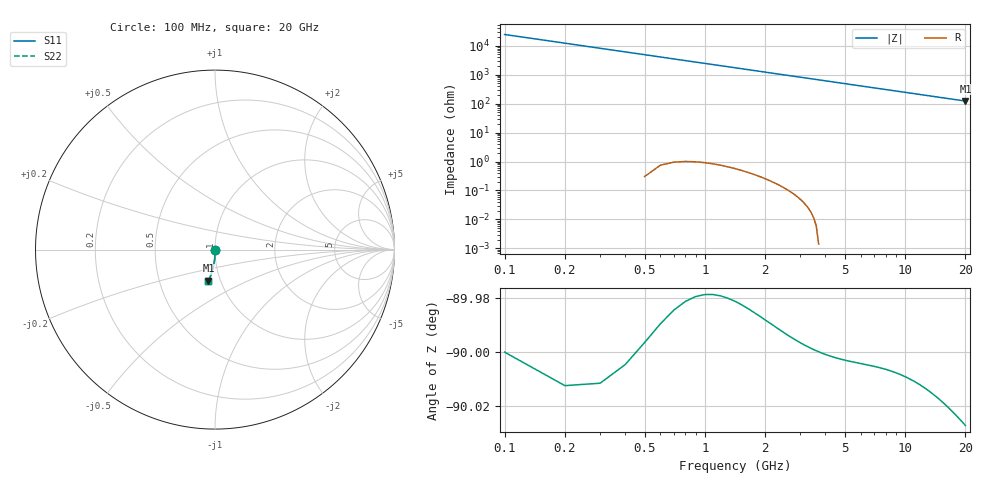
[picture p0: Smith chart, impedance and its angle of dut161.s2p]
! Touchstone file exported from HFSS 2026.1.0
!  File:  C:/ffzhzh/LocalFiles/Ansys_Project_Files/temp_train_TSV_161_1782990831_42984.aedt
!  Generated:  07:15:17 PM Jul  2, 2026
!  Design:  TSV
!  Project:  temp_train_TSV_161_1782990831_42984
! Variables:
!  h_bsmrdl = 2um
!  h_ox = 20um
!  h_rdl = 5um
!  h_sub = 83.61um
!  h_tmrdl = 5um
!  h_tsv = 83.61um
!  h_via = 3um
!  l_bsmrdl = 300um
!  l_sub = 412.48um
!  l_tmrdl = 200um
!  m_sub = 200um
!  pitch = 13.53um
!  r_tsv = 6.24um
!  s_tmrdl = 10um
!  w_bsmrdl = 18um
!  w_sub = 500um
!  w_tmrdl = 12um
!  x_tsv_center1 = 206um
!  x_tsv_center2 = 524um
!  x_tsv_center3 = 736um
!  x_tsv_center4 = 1054um
!  x_tsv_center5 = 1266um
!  x_tsv_center6 = 1584um
# GHz S MA R 50.000000
! Terminal data exported
! Port[1] = TSV1_1_T1
! Port[2] = TSV1_1_T2
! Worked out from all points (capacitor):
!   200 points, 100 MHz to 20 GHz, reference 50 ohm
!   read as one part in shunt: C = 65.2 fF near 200 MHz
!   lowest |Z| = 123 ohm at 20 GHz (marker M1)
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0.1  0.0008469 -68.6  0.9997 -0.1  0.9997 -0.1  0.0008469 -68.6
! Gamma 0 0 0 0
! Port Impedance 50 0 50 0
0.2  0.001633 -77.5  0.9996 -0.1  0.9996 -0.1  0.001633 -77.5
0.3  0.002459 -80.5  0.9996 -0.2  0.9996 -0.2  0.002459 -80.5
0.4  0.003311 -82.0  0.9995 -0.3  0.9995 -0.3  0.003311 -82.0
0.5  0.004179 -83.0  0.9995 -0.3  0.9995 -0.3  0.004179 -83.0
0.7  0.005943 -84.4  0.9994 -0.5  0.9994 -0.5  0.005943 -84.4
0.8  0.00683 -85.0  0.9993 -0.5  0.9993 -0.5  0.00683 -85.0
1  0.008608 -85.9  0.9992 -0.7  0.9992 -0.7  0.008608 -85.9
1.2  0.01039 -86.6  0.9992 -0.8  0.9992 -0.8  0.01039 -86.6
1.4  0.01216 -87.1  0.9991 -0.9  0.9991 -0.9  0.01216 -87.1
1.7  0.01483 -87.8  0.999 -1.1  0.999 -1.1  0.01483 -87.8
2  0.0175 -88.3  0.9989 -1.3  0.9989 -1.3  0.0175 -88.3
2.7  0.02373 -89.2  0.9986 -1.8  0.9986 -1.8  0.02373 -89.2
3.5  0.03088 -90.0  0.9983 -2.3  0.9983 -2.3  0.03088 -90.0
4.2  0.03716 -90.6  0.9979 -2.8  0.9979 -2.8  0.03716 -90.6
5  0.04436 -91.3  0.9974 -3.3  0.9974 -3.3  0.04436 -91.3
6.8  0.06058 -92.7  0.9963 -4.5  0.9963 -4.5  0.06058 -92.7
8.3  0.07409 -93.8  0.9951 -5.5  0.9951 -5.5  0.07409 -93.8
10.1  0.09026 -95.1  0.9935 -6.6  0.9935 -6.6  0.09026 -95.1
13.4  0.1197 -97.4  0.99 -8.7  0.99 -8.7  0.1197 -97.4
16.7  0.1488 -99.6  0.9857 -10.9  0.9857 -10.9  0.1488 -99.6
20  0.1775 -101.8  0.9805 -12.9  0.9805 -12.9  0.1775 -101.8
